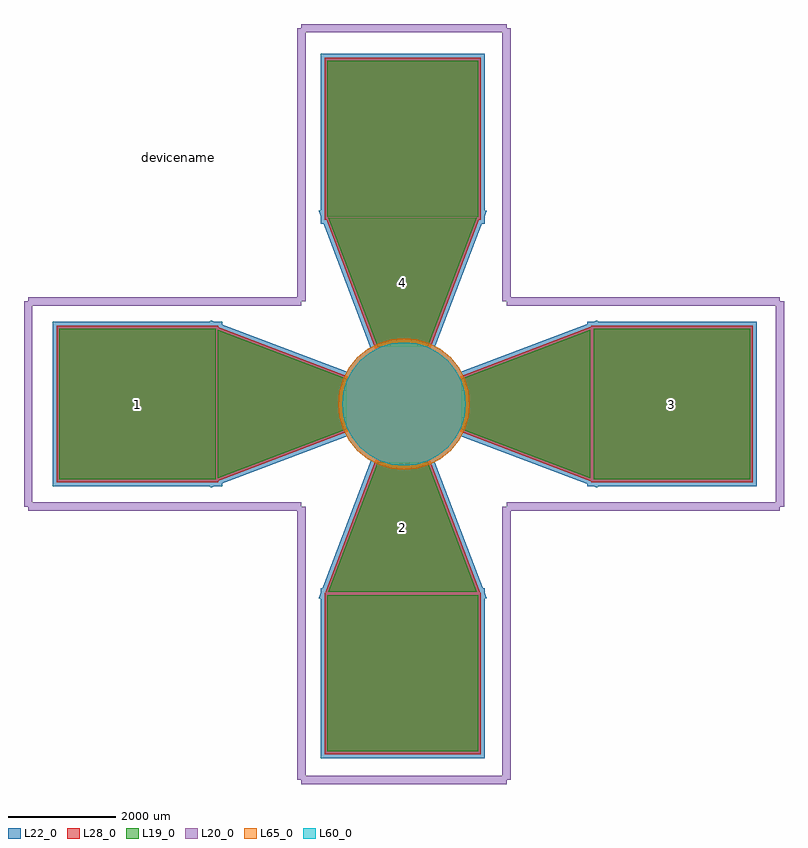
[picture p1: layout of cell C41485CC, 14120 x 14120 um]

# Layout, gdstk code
import gdstk
lib = gdstk.Library(unit=1e-6, precision=1e-09)
def R(c, l, rs):  # rectangles x0, y0, x1, y1
    for r in rs: c.add(gdstk.rectangle(r[:2], r[2:], *l))
def P(c, l, *ps):  # polygons
    for p in ps: c.add(gdstk.Polygon(p, *l))
L19_0 = (19, 0)
L20_0 = (20, 0)
L22_0 = (22, 0)
L28_0 = (28, 0)
L60_0 = (60, 0)
L65_0 = (65, 0)

c41485cc = lib.new_cell('C41485CC')
R(c41485cc, L19_0, [(-1425.74,-6454.94,1374.94,-3552.66), (-6404.14,-1400.34,-3501.86,1400.34), (3527.26,-1400.34,6429.54,1400.34), (-1425.74,3476.46,1374.94,6378.74)])
P(c41485cc, L19_0, [(-491.282,-1085.05),(440.482,-1085.05),(1352.472,-3486.95),(-1403.272,-3486.95)],
  [(-1403.272,3461.55),(1352.472,3461.55),(440.482,1059.65),(-491.282,1059.65)],
  [(1059.65,-465.882),(1059.65,465.882),(3461.55,1377.872),(3461.55,-1377.872)],
  [(-3461.55,-1377.872),(-3461.55,1377.872),(-1059.65,465.882),(-1059.65,-465.882)])
R(c41485cc, L22_0, [(-1550.74,-6579.94,1499.94,-3427.66), (-6529.14,-1525.34,-3376.86,1525.34), (3402.26,-1525.34,6554.54,1525.34), (-1550.74,3351.46,1499.94,6503.74)])
P(c41485cc, L22_0, [(1225.62,0),(1202.07,239.107),(1132.325,469.024),(1019.066,680.918),(866.644,866.644),(680.918,1019.066),(469.024,1132.325),(239.107,1202.07),(0,1225.62),(-239.107,1202.07),(-469.024,1132.325),(-680.918,1019.066),(-866.644,866.644),(-1019.066,680.918),(-1132.325,469.024),(-1202.07,239.107),(-1225.62,0),(-1202.07,-239.107),(-1132.325,-469.024),(-1019.066,-680.918),(-866.644,-866.644),(-680.918,-1019.066),(-469.024,-1132.325),(-239.107,-1202.07),(0,-1225.62),(239.107,-1202.07),(469.024,-1132.325),(680.918,-1019.066),(866.644,-866.644),(1019.066,-680.918),(1132.325,-469.024),(1202.07,-239.107)],
  [(-577.527,-960.05),(526.727,-960.05),(1533.642,-3611.95),(-1584.442,-3611.95)],
  [(-1584.442,3586.55),(1533.642,3586.55),(526.727,934.65),(-577.527,934.65)],
  [(934.65,-552.127),(934.65,552.127),(3586.55,1559.042),(3586.55,-1559.042)],
  [(-3586.55,-1559.042),(-3586.55,1559.042),(-934.65,552.127),(-934.65,-552.127)])
R(c41485cc, L28_0, [(-1475.74,-6504.94,1424.94,-3502.66), (-6454.14,-1450.34,-3451.86,1450.34), (3477.26,-1450.34,6479.54,1450.34), (-1475.74,3426.46,1424.94,6428.74)])
P(c41485cc, L28_0, [(1150.62,0),(1128.511,224.475),(1063.034,440.323),(956.706,639.25),(813.611,813.611),(639.25,956.706),(440.323,1063.034),(224.475,1128.511),(0,1150.62),(-224.475,1128.511),(-440.323,1063.034),(-639.25,956.706),(-813.611,813.611),(-956.706,639.25),(-1063.034,440.323),(-1128.511,224.475),(-1150.62,0),(-1128.511,-224.475),(-1063.034,-440.323),(-956.706,-639.25),(-813.611,-813.611),(-639.25,-956.706),(-440.323,-1063.034),(-224.475,-1128.511),(0,-1150.62),(224.475,-1128.511),(440.323,-1063.034),(639.25,-956.706),(813.611,-813.611),(956.706,-639.25),(1063.034,-440.323),(1128.511,-224.475)],
  [(-525.78,-1035.05),(474.98,-1035.05),(1424.94,-3536.95),(-1475.74,-3536.95)],
  [(-1475.74,3511.55),(1424.94,3511.55),(474.98,1009.65),(-525.78,1009.65)],
  [(1009.65,-500.38),(1009.65,500.38),(3511.55,1450.34),(3511.55,-1450.34)],
  [(-3511.55,-1450.34),(-3511.55,1450.34),(-1009.65,500.38),(-1009.65,-500.38)])
P(c41485cc, L60_0, [(1150.62,0),(1128.511,224.475),(1063.034,440.323),(956.706,639.25),(813.611,813.611),(639.25,956.706),(440.323,1063.034),(224.475,1128.511),(0,1150.62),(-224.475,1128.511),(-440.323,1063.034),(-639.25,956.706),(-813.611,813.611),(-956.706,639.25),(-1063.034,440.323),(-1128.511,224.475),(-1150.62,0),(-1128.511,-224.475),(-1063.034,-440.323),(-956.706,-639.25),(-813.611,-813.611),(-639.25,-956.706),(-440.323,-1063.034),(-224.475,-1128.511),(0,-1150.62),(224.475,-1128.511),(440.323,-1063.034),(639.25,-956.706),(813.611,-813.611),(956.706,-639.25),(1063.034,-440.323),(1128.511,-224.475)])
P(c41485cc, L65_0, [(1225.62,0),(1202.07,239.107),(1132.325,469.024),(1019.066,680.918),(866.644,866.644),(680.918,1019.066),(469.024,1132.325),(239.107,1202.07),(0,1225.62),(-239.107,1202.07),(-469.024,1132.325),(-680.918,1019.066),(-866.644,866.644),(-1019.066,680.918),(-1132.325,469.024),(-1202.07,239.107),(-1225.62,0),(-1202.07,-239.107),(-1132.325,-469.024),(-1019.066,-680.918),(-866.644,-866.644),(-680.918,-1019.066),(-469.024,-1132.325),(-239.107,-1202.07),(0,-1225.62),(239.107,-1202.07),(469.024,-1132.325),(680.918,-1019.066),(866.644,-866.644),(1019.066,-680.918),(1132.325,-469.024),(1202.07,-239.107)])
c41485cc.add(gdstk.FlexPath([(-1905,1905),(-6985,1905)], 149.998, ends="flush", simple_path=True, layer=20, datatype=0))  # L20_0
c41485cc.add(gdstk.FlexPath([(-1905,6985),(-1905,1905)], 149.998, ends="flush", simple_path=True, layer=20, datatype=0))  # L20_0
c41485cc.add(gdstk.FlexPath([(1905,6985),(-1905,6985)], 149.998, ends="flush", simple_path=True, layer=20, datatype=0))  # L20_0
c41485cc.add(gdstk.FlexPath([(1905,1905),(1905,6985)], 149.998, ends="flush", simple_path=True, layer=20, datatype=0))  # L20_0
c41485cc.add(gdstk.FlexPath([(6985,1905),(1905,1905)], 149.998, ends="flush", simple_path=True, layer=20, datatype=0))  # L20_0
c41485cc.add(gdstk.FlexPath([(6985,-1905),(6985,1905)], 149.998, ends="flush", simple_path=True, layer=20, datatype=0))  # L20_0
c41485cc.add(gdstk.FlexPath([(1905,-1905),(6985,-1905)], 149.998, ends="flush", simple_path=True, layer=20, datatype=0))  # L20_0
c41485cc.add(gdstk.FlexPath([(1905,-6985),(1905,-1905)], 149.998, ends="flush", simple_path=True, layer=20, datatype=0))  # L20_0
c41485cc.add(gdstk.FlexPath([(-1905,-6985),(1905,-6985)], 149.998, ends="flush", simple_path=True, layer=20, datatype=0))  # L20_0
c41485cc.add(gdstk.FlexPath([(-1905,-1905),(-1905,-6985)], 149.998, ends="flush", simple_path=True, layer=20, datatype=0))  # L20_0
c41485cc.add(gdstk.FlexPath([(-6985,-1905),(-1905,-1905)], 149.998, ends="flush", simple_path=True, layer=20, datatype=0))  # L20_0
c41485cc.add(gdstk.FlexPath([(-6985,1905),(-6985,-1905)], 149.998, ends="flush", simple_path=True, layer=20, datatype=0))  # L20_0
c41485cc.add(gdstk.Label('2', (-25.4,-2286), layer=28, texttype=0))
c41485cc.add(gdstk.Label('4', (-25.4,2260.6), layer=28, texttype=0))
c41485cc.add(gdstk.Label('3', (4978.4,0), layer=28, texttype=0))
c41485cc.add(gdstk.Label('1', (-4953,0), layer=28, texttype=0))
c41485cc.add(gdstk.Label('type', (0,-7620), layer=9, texttype=0))
c41485cc.add(gdstk.Label('devicename', (-4191,4572), layer=9, texttype=0))

lib.write_gds('C41485CC.gds')
